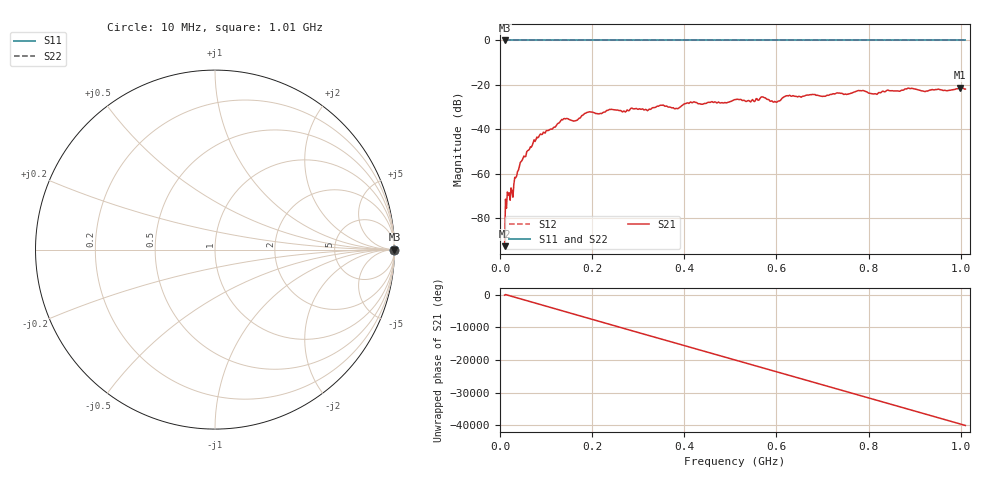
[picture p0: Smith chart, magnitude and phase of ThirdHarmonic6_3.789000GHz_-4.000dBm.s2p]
! 8/17/2025 1:04:51 PM
! C:\ANRITSUVNA\TEMP\TEMP.S2P
! CHANNEL.1
! TR.MEASUREMENT
! RAW.DATA
! RF.CORRECTION.OFF
! AVERAGING.OFF
! IF.BANDWIDTH: 5KHZ
! SWEEPTYPE:  FREQ.SWEEP(Linear)
! Reference Plane Port Info
! PORT:  PORT1  PORT2
! DISTANCE:  0  m  0  m
! TIME:  0  s  0  s
! PHASE.OFFSET:  0  deg.  0  deg.
! LOSS:  0  dB  0  dB
! REF.LOSS:  0  dB  0  dB
! REF.FREQ:  0  Hz  0  Hz
! Power Info
! POWER:  -20  dBm  -20  dBm
! EFF.POWER:  -20  dBm  -20  dBm
! SOURCE.ATTEN:  0  dB  0  dB
! TEST.ATTEN:  0  dB  0  dB
# GHZ S RI R 50.0
! FREQ.GHZ  S11RE  S11IM  S21RE  S21IM  S12RE  S12IM  S22RE  S22IM
!; PortSelection: Port_12
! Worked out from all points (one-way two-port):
!   501 points, 10 MHz to 1.01 GHz, reference 50 ohm
!   highest |S21| = -21.27 dB at 998 MHz (marker M1); lowest = -92.6 dB at 10 MHz (marker M2)
!   lowest |S11| = 0.0 dB at 10 MHz (marker M3)
!   |S11| at or under -10 dB: nowhere
!   |S22| runs from 0.0 to 0.0 dB; largest |S21 - S12| = 1.1
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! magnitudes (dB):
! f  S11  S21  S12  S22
! 10 MHz  0.0  -92.6  0.0  0.0
! 16 MHz  0.0  -68.2  0.0  0.0
! 26 MHz  0.0  -67.7  0.0  0.0
! 46 MHz  0.0  -54.4  0.0  0.0
! 76 MHz  0.0  -45.4  0.0  0.0
! 136 MHz  0.0  -35.7  0.0  0.0
! 164 MHz  0.0  -36.1  0.0  0.0
! 178 MHz  0.0  -33.7  0.0  0.0
! 192 MHz  0.0  -32.1  0.0  0.0
! 322 MHz  0.0  -31.3  0.0  0.0
! 344 MHz  0.0  -29.6  0.0  0.0
! 382 MHz  0.0  -30.6  0.0  0.0
! 416 MHz  0.0  -28.0  0.0  0.0
! 510 MHz  0.0  -26.6  0.0  0.0
! 548 MHz  0.0  -26.6  0.0  0.0
! 570 MHz  0.0  -25.4  0.0  0.0
! 598 MHz  0.0  -27.6  0.0  0.0
! 624 MHz  0.0  -24.8  0.0  0.0
! 678 MHz  0.0  -24.3  0.0  0.0
! 844 MHz  0.0  -22.5  0.0  0.0
! 998 MHz  0.0  -21.3  0.0  0.0
! 1.01 GHz  0.0  -21.9  0.0  0.0
